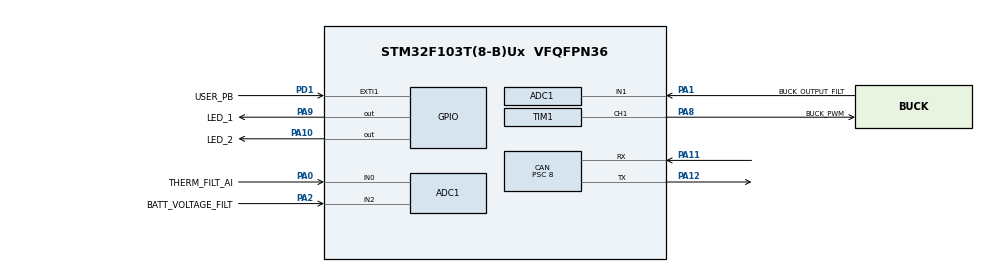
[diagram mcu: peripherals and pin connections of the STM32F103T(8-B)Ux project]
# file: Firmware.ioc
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ADC1.Channel-0\#ChannelRegularConversion=ADC_CHANNEL_0
ADC1.NbrOfConversion=1
ADC1.NbrOfConversionFlag=1
ADC1.Rank-0\#ChannelRegularConversion=1
ADC1.SamplingTime-0\#ChannelRegularConversion=ADC_SAMPLETIME_1CYCLE_5
ADC1.master=1
CAN.BS1=CAN_BS1_2TQ
CAN.CalculateBaudRate=250000
CAN.CalculateTimeBit=4000.00
CAN.CalculateTimeQuantum=1000.0
CAN.Prescaler=8
CAN.SJW=CAN_SJW_1TQ
Mcu.Family=STM32F1
Mcu.Name=STM32F103T(8-B)Ux
Mcu.Package=VFQFPN36
NVIC.CAN1_RX1_IRQn=true\:0\:0\:false\:false\:true\:true\:true
NVIC.PriorityGroup=NVIC_PRIORITYGROUP_4
NVIC.TIM2_IRQn=true\:0\:0\:false\:false\:true\:true\:true
PA0-WKUP.GPIO_Label=THERM_FILT_AI
PA0-WKUP.Signal=ADCx_IN0
PA1.GPIO_Label=BUCK_OUTPUT_FILT
PA1.Signal=ADCx_IN1
PA10.GPIO_Label=LED_2
PA10.Signal=GPIO_Output
PA11.Mode=CAN_Activate
PA11.Signal=CAN_RX
PA12.Mode=CAN_Activate
PA12.Signal=CAN_TX
PA13.Mode=Serial_Wire
PA13.Signal=SYS_JTMS-SWDIO
PA14.Mode=Serial_Wire
PA14.Signal=SYS_JTCK-SWCLK
PA2.GPIO_Label=BATT_VOLTAGE_FILT
PA2.Signal=ADCx_IN2
PA8.GPIO_Label=BUCK_PWM
PA8.Signal=S_TIM1_CH1
PA9.GPIO_Label=LED_1
PA9.Signal=GPIO_Output
PD1-OSC_OUT.GPIO_Label=USER_PB
PD1-OSC_OUT.GPIO_ModeDefaultEXTI=GPIO_MODE_IT_FALLING
PD1-OSC_OUT.GPIO_PuPd=GPIO_NOPULL
PD1-OSC_OUT.Signal=GPXTI1
ProjectManager.HeapSize=0x200
ProjectManager.StackSize=0x400
ProjectManager.TargetToolchain=SW4STM32
RCC.APB1Freq_Value=8000000
RCC.APB1TimFreq_Value=8000000
RCC.APB2Freq_Value=8000000
SH.ADCx_IN0.0=ADC1_IN0,IN0
SH.ADCx_IN1.0=ADC1_IN1,IN1
SH.ADCx_IN2.0=ADC1_IN2,IN2
SH.S_TIM1_CH1.0=TIM1_CH1,PWM Generation1 CH1
TIM1.AutomaticOutput=TIM_AUTOMATICOUTPUT_DISABLE
TIM1.Channel-PWM\ Generation1\ CH1=TIM_CHANNEL_1
TIM1.OCIdleState_1=TIM_OCIDLESTATE_SET
TIM1.Period=49
TIM1.Prescaler=7
TIM1.Pulse-PWM\ Generation1\ CH1=49
TIM2.Channel-Output\ Compare1\ No\ Output=TIM_CHANNEL_1
TIM2.Period=9999
TIM2.Prescaler=799
VP_TIM1_VS_ClockSourceINT.Mode=Internal
VP_TIM2_VS_no_output1.Mode=Output Compare1 No Output
board=custom

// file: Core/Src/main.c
/* USER CODE BEGIN Header */
/**
  ******************************************************************************
  * @file           : main.c
  * @brief          : Main program body
  ******************************************************************************
  * @attention
  *
  * <h2><center>&copy; Copyright (c) 2022 STMicroelectronics.
  * All rights reserved.</center></h2>
  *
  * This software component is licensed by ST under BSD 3-Clause license,
  * the "License"; You may not use this file except in compliance with the
  * License. You may obtain a copy of the License at:
  *                        opensource.org/licenses/BSD-3-Clause
  *
  ******************************************************************************
  */
/* USER CODE END Header */
#include "main.h"

/* USER CODE BEGIN Includes */
#include "PID.h"
/* USER CODE END Includes */

ADC_HandleTypeDef hadc1;

CAN_HandleTypeDef hcan;

TIM_HandleTypeDef htim1;
TIM_HandleTypeDef htim2;

void SystemClock_Config(void);
static void MX_GPIO_Init(void);
static void MX_ADC1_Init(void);
static void MX_CAN_Init(void);
static void MX_TIM1_Init(void);
static void MX_TIM2_Init(void);

/* USER CODE BEGIN 0 */
int duty = 0;
int direction = 1;

// CAN Vars
uint8_t datacheck = 0;
uint8_t RxData[8];

// ADC variables
uint16_t therm_val;
uint8_t therm_val_bytes[2];
float fThermTemp = 0.0f;
float thermSlope = -59.152358f;
float thermOffset = 146.160f;

uint16_t buck_voltage;
uint8_t buck_voltage_bytes[2];

uint16_t batt_voltage;
uint8_t batt_voltage_bytes[2];

ADC_ChannelConfTypeDef sConfig = {0};

// PID Parameters
/* Controller parameters */
float setpoint = 35.0f;

#define PID_KP  20.0f
#define PID_KI  1.0f
#define PID_KD  0.0f

#define PID_TAU 0.02f

#define PID_LIM_MIN  0.0f
#define PID_LIM_MAX  95.0f

#define PID_LIM_MIN_INT -5.0f
#define PID_LIM_MAX_INT  5.0f

#define SAMPLE_TIME_S 0.01f
float fNewDuty = 0.0f;
int newDuty = 0;

PIDController pid = {	PID_KP, PID_KI, PID_KD,
                       PID_TAU,
                       PID_LIM_MIN, PID_LIM_MAX,
						PID_LIM_MIN_INT, PID_LIM_MAX_INT,
                       SAMPLE_TIME_S };

/* USER CODE END 0 */

int main(void)
{

  /* MCU Configuration--------------------------------------------------------*/

  /* Reset of all peripherals, Initializes the Flash interface and the Systick. */
  HAL_Init();

  /* Configure the system clock */
  SystemClock_Config();

  /* Initialize all configured peripherals */
  MX_GPIO_Init();
  MX_ADC1_Init();
  MX_CAN_Init();
  MX_TIM1_Init();
  MX_TIM2_Init();
  /* USER CODE BEGIN 2 */
  HAL_TIM_PWM_Start(&htim1, TIM_CHANNEL_1);
  HAL_TIM_Base_Start_IT(&htim2);

  HAL_CAN_Start(&hcan);
  if(HAL_CAN_ActivateNotification(&hcan, CAN_IT_RX_FIFO0_MSG_PENDING) != HAL_OK)
  {
	  Error_Handler();
  }

  PIDController_Init(&pid);

  /* USER CODE END 2 */

  /* Infinite loop */
  /* USER CODE BEGIN WHILE */

  while (1)
  {
	//TIM1->CCR1 = 9999;

	// sendCANMessage();

	HAL_Delay(500);

	if(datacheck == 1)
	{
		HAL_GPIO_TogglePin(GPIOA, LED_2_Pin);
		HAL_Delay(300);
		datacheck = 0;
		setpoint = RxData[0];
	}

    /* USER CODE END WHILE */

  }
}

void SystemClock_Config(void)
{
  RCC_OscInitTypeDef RCC_OscInitStruct = {0};
  RCC_ClkInitTypeDef RCC_ClkInitStruct = {0};
  RCC_PeriphCLKInitTypeDef PeriphClkInit = {0};

  /** Initializes the RCC Oscillators according to the specified parameters
  * in the RCC_OscInitTypeDef structure.
  */
  RCC_OscInitStruct.OscillatorType = RCC_OSCILLATORTYPE_HSI;
  RCC_OscInitStruct.HSIState = RCC_HSI_ON;
  RCC_OscInitStruct.HSICalibrationValue = RCC_HSICALIBRATION_DEFAULT;
  RCC_OscInitStruct.PLL.PLLState = RCC_PLL_NONE;
  if (HAL_RCC_OscConfig(&RCC_OscInitStruct) != HAL_OK)
  {
    Error_Handler();
  }
  /** Initializes the CPU, AHB and APB buses clocks
  */
  RCC_ClkInitStruct.ClockType = RCC_CLOCKTYPE_HCLK|RCC_CLOCKTYPE_SYSCLK
                              |RCC_CLOCKTYPE_PCLK1|RCC_CLOCKTYPE_PCLK2;
  RCC_ClkInitStruct.SYSCLKSource = RCC_SYSCLKSOURCE_HSI;
  RCC_ClkInitStruct.AHBCLKDivider = RCC_SYSCLK_DIV1;
  RCC_ClkInitStruct.APB1CLKDivider = RCC_HCLK_DIV1;
  RCC_ClkInitStruct.APB2CLKDivider = RCC_HCLK_DIV1;

  if (HAL_RCC_ClockConfig(&RCC_ClkInitStruct, FLASH_LATENCY_0) != HAL_OK)
  {
    Error_Handler();
  }
  PeriphClkInit.PeriphClockSelection = RCC_PERIPHCLK_ADC;
  PeriphClkInit.AdcClockSelection = RCC_ADCPCLK2_DIV2;
  if (HAL_RCCEx_PeriphCLKConfig(&PeriphClkInit) != HAL_OK)
  {
    Error_Handler();
  }
}

static void MX_ADC1_Init(void)
{

  ADC_ChannelConfTypeDef sConfig = {0};

  /** Common config
  */
  hadc1.Instance = ADC1;
  hadc1.Init.ScanConvMode = ADC_SCAN_DISABLE;
  hadc1.Init.ContinuousConvMode = DISABLE;
  hadc1.Init.DiscontinuousConvMode = DISABLE;
  hadc1.Init.ExternalTrigConv = ADC_SOFTWARE_START;
  hadc1.Init.DataAlign = ADC_DATAALIGN_RIGHT;
  hadc1.Init.NbrOfConversion = 1;
  if (HAL_ADC_Init(&hadc1) != HAL_OK)
  {
    Error_Handler();
  }
  /** Configure Regular Channel
  */
  sConfig.Channel = ADC_CHANNEL_0;
  sConfig.Rank = ADC_REGULAR_RANK_1;
  sConfig.SamplingTime = ADC_SAMPLETIME_1CYCLE_5;
  if (HAL_ADC_ConfigChannel(&hadc1, &sConfig) != HAL_OK)
  {
    Error_Handler();
  }

}

static void MX_CAN_Init(void)
{

  hcan.Instance = CAN1;
  hcan.Init.Prescaler = 8;
  hcan.Init.Mode = CAN_MODE_NORMAL;
  hcan.Init.SyncJumpWidth = CAN_SJW_1TQ;
  hcan.Init.TimeSeg1 = CAN_BS1_2TQ;
  hcan.Init.TimeSeg2 = CAN_BS2_1TQ;
  hcan.Init.TimeTriggeredMode = DISABLE;
  hcan.Init.AutoBusOff = DISABLE;
  hcan.Init.AutoWakeUp = DISABLE;
  hcan.Init.AutoRetransmission = DISABLE;
  hcan.Init.ReceiveFifoLocked = DISABLE;
  hcan.Init.TransmitFifoPriority = DISABLE;
  if (HAL_CAN_Init(&hcan) != HAL_OK)
  {
    Error_Handler();
  }
  /* USER CODE BEGIN CAN_Init 2 */
  CAN_FilterTypeDef sf;
  sf.FilterMaskIdHigh = 0x0000;
  sf.FilterMaskIdLow = 0x0000;
  sf.FilterFIFOAssignment = CAN_FILTER_FIFO0;
  sf.FilterBank = 0;
  sf.FilterMode = CAN_FILTERMODE_IDMASK;
  sf.FilterScale = CAN_FILTERSCALE_32BIT;
  sf.FilterActivation = CAN_FILTER_ENABLE;
  if (HAL_CAN_ConfigFilter(&hcan, &sf) != HAL_OK)
  {
    Error_Handler();
  }

  if (HAL_CAN_Start(&hcan) != HAL_OK)
  {
    Error_Handler();
  }

  CAN_FilterTypeDef canfilterconfig;

  canfilterconfig.FilterActivation = CAN_FILTER_ENABLE;
  canfilterconfig.FilterBank = 10;  // which filter bank to use from the assigned ones
  canfilterconfig.FilterFIFOAssignment = CAN_FILTER_FIFO1;
  canfilterconfig.FilterIdHigh = 0x631<<5;
  canfilterconfig.FilterIdLow = 0;
  canfilterconfig.FilterMaskIdHigh = 0x631<<5;
  canfilterconfig.FilterMaskIdLow = 0x0000;
  canfilterconfig.FilterMode = CAN_FILTERMODE_IDMASK;
  canfilterconfig.FilterScale = CAN_FILTERSCALE_32BIT;
  canfilterconfig.SlaveStartFilterBank = 0;  // how many filters to assign to the CAN1 (master can)

  HAL_CAN_ConfigFilter(&hcan, &canfilterconfig);

  /* USER CODE END CAN_Init 2 */

}

static void MX_TIM1_Init(void)
{

  TIM_ClockConfigTypeDef sClockSourceConfig = {0};
  TIM_MasterConfigTypeDef sMasterConfig = {0};
  TIM_OC_InitTypeDef sConfigOC = {0};
  TIM_BreakDeadTimeConfigTypeDef sBreakDeadTimeConfig = {0};

  htim1.Instance = TIM1;
  htim1.Init.Prescaler = 7;
  htim1.Init.CounterMode = TIM_COUNTERMODE_UP;
  htim1.Init.Period = 49;
  htim1.Init.ClockDivision = TIM_CLOCKDIVISION_DIV1;
  htim1.Init.RepetitionCounter = 0;
  htim1.Init.AutoReloadPreload = TIM_AUTORELOAD_PRELOAD_DISABLE;
  if (HAL_TIM_Base_Init(&htim1) != HAL_OK)
  {
    Error_Handler();
  }
  sClockSourceConfig.ClockSource = TIM_CLOCKSOURCE_INTERNAL;
  if (HAL_TIM_ConfigClockSource(&htim1, &sClockSourceConfig) != HAL_OK)
  {
    Error_Handler();
  }
  if (HAL_TIM_PWM_Init(&htim1) != HAL_OK)
  {
    Error_Handler();
  }
  sMasterConfig.MasterOutputTrigger = TIM_TRGO_RESET;
  sMasterConfig.MasterSlaveMode = TIM_MASTERSLAVEMODE_DISABLE;
  if (HAL_TIMEx_MasterConfigSynchronization(&htim1, &sMasterConfig) != HAL_OK)
  {
    Error_Handler();
  }
  sConfigOC.OCMode = TIM_OCMODE_PWM1;
  sConfigOC.Pulse = 49;
  sConfigOC.OCPolarity = TIM_OCPOLARITY_HIGH;
  sConfigOC.OCNPolarity = TIM_OCNPOLARITY_HIGH;
  sConfigOC.OCFastMode = TIM_OCFAST_DISABLE;
  sConfigOC.OCIdleState = TIM_OCIDLESTATE_SET;
  sConfigOC.OCNIdleState = TIM_OCNIDLESTATE_RESET;
  if (HAL_TIM_PWM_ConfigChannel(&htim1, &sConfigOC, TIM_CHANNEL_1) != HAL_OK)
  {
    Error_Handler();
  }
  sBreakDeadTimeConfig.OffStateRunMode = TIM_OSSR_DISABLE;
  sBreakDeadTimeConfig.OffStateIDLEMode = TIM_OSSI_DISABLE;
  sBreakDeadTimeConfig.LockLevel = TIM_LOCKLEVEL_OFF;
  sBreakDeadTimeConfig.DeadTime = 0;
  sBreakDeadTimeConfig.BreakState = TIM_BREAK_DISABLE;
  sBreakDeadTimeConfig.BreakPolarity = TIM_BREAKPOLARITY_HIGH;
  sBreakDeadTimeConfig.AutomaticOutput = TIM_AUTOMATICOUTPUT_DISABLE;
  if (HAL_TIMEx_ConfigBreakDeadTime(&htim1, &sBreakDeadTimeConfig) != HAL_OK)
  {
    Error_Handler();
  }
  HAL_TIM_MspPostInit(&htim1);

}

static void MX_TIM2_Init(void)
{

  TIM_MasterConfigTypeDef sMasterConfig = {0};
  TIM_OC_InitTypeDef sConfigOC = {0};

  htim2.Instance = TIM2;
  htim2.Init.Prescaler = 799;
  htim2.Init.CounterMode = TIM_COUNTERMODE_UP;
  htim2.Init.Period = 9999;
  htim2.Init.ClockDivision = TIM_CLOCKDIVISION_DIV1;
  htim2.Init.AutoReloadPreload = TIM_AUTORELOAD_PRELOAD_DISABLE;
  if (HAL_TIM_OC_Init(&htim2) != HAL_OK)
  {
    Error_Handler();
  }
  sMasterConfig.MasterOutputTrigger = TIM_TRGO_RESET;
  sMasterConfig.MasterSlaveMode = TIM_MASTERSLAVEMODE_DISABLE;
  if (HAL_TIMEx_MasterConfigSynchronization(&htim2, &sMasterConfig) != HAL_OK)
  {
    Error_Handler();
  }
  sConfigOC.OCMode = TIM_OCMODE_TIMING;
  sConfigOC.Pulse = 0;
  sConfigOC.OCPolarity = TIM_OCPOLARITY_HIGH;
  sConfigOC.OCFastMode = TIM_OCFAST_DISABLE;
  if (HAL_TIM_OC_ConfigChannel(&htim2, &sConfigOC, TIM_CHANNEL_1) != HAL_OK)
  {
    Error_Handler();
  }

}

static void MX_GPIO_Init(void)
{
  GPIO_InitTypeDef GPIO_InitStruct = {0};

  /* GPIO Ports Clock Enable */
  __HAL_RCC_GPIOD_CLK_ENABLE();
  __HAL_RCC_GPIOA_CLK_ENABLE();

  /*Configure GPIO pin Output Level */
  HAL_GPIO_WritePin(GPIOA, LED_1_Pin|LED_2_Pin, GPIO_PIN_RESET);

  /*Configure GPIO pin : USER_PB_Pin */
  GPIO_InitStruct.Pin = USER_PB_Pin;
  GPIO_InitStruct.Mode = GPIO_MODE_IT_FALLING;
  GPIO_InitStruct.Pull = GPIO_NOPULL;
  HAL_GPIO_Init(USER_PB_GPIO_Port, &GPIO_InitStruct);

  /*Configure GPIO pins : LED_1_Pin LED_2_Pin */
  GPIO_InitStruct.Pin = LED_1_Pin|LED_2_Pin;
  GPIO_InitStruct.Mode = GPIO_MODE_OUTPUT_PP;
  GPIO_InitStruct.Pull = GPIO_NOPULL;
  GPIO_InitStruct.Speed = GPIO_SPEED_FREQ_LOW;
  HAL_GPIO_Init(GPIOA, &GPIO_InitStruct);

  /*Configure peripheral I/O remapping */
  __HAL_AFIO_REMAP_PD01_ENABLE();

}

/* USER CODE BEGIN 4 */

// Callback: timer has rolled over
void HAL_TIM_PeriodElapsedCallback(TIM_HandleTypeDef *htim)
{
  // Check which version of the timer triggered this callback and toggle LED
  if (htim == &htim2)
  {
    HAL_GPIO_TogglePin(GPIOA, LED_2_Pin);
	getADCData();
	fNewDuty = PIDController_Update(&pid, setpoint, fThermTemp);
	newDuty = (int)fNewDuty;
	//TIM1->CCR1 = ((PID_LIM_MAX - newDuty)/2);
  }
}

void sendCANMessage()
{

	// Thermistor reading
	uint32_t mb;
	CAN_TxHeaderTypeDef msg;
	msg.StdId = 120;
	msg.IDE = CAN_ID_STD;
	msg.RTR = CAN_RTR_DATA;
	msg.DLC = 2;
	msg.TransmitGlobalTime = DISABLE;

	if (HAL_CAN_AddTxMessage(&hcan, &msg, therm_val_bytes, &mb) != HAL_OK)
	{
		Error_Handler();
	}

	//HAL_Delay(1);

	/* Buck Voltage
	//uint32_t mb1;
	CAN_TxHeaderTypeDef msg1;
	msg.StdId = 126;
	msg.IDE = CAN_ID_STD;
	msg.RTR = CAN_RTR_DATA;
	msg.DLC = 2;
	msg.TransmitGlobalTime = DISABLE;

	if (HAL_CAN_AddTxMessage(&hcan, &msg1, buck_voltage_bytes, &mb) != HAL_OK)
	{
		Error_Handler();
	}

	HAL_Delay(1);
	// Batt voltage
	//uint32_t mb2;
	CAN_TxHeaderTypeDef msg2;
	msg.StdId = 127;
	msg.IDE = CAN_ID_STD;
	msg.RTR = CAN_RTR_DATA;
	msg.DLC = 2;
	msg.TransmitGlobalTime = DISABLE;

	if (HAL_CAN_AddTxMessage(&hcan, &msg2, batt_voltage_bytes, &mb) != HAL_OK)
	{
		Error_Handler();
	}
	*/
}

// CAN read function
CAN_RxHeaderTypeDef   RxHeader;

void HAL_CAN_RxFifo0MsgPendingCallback(CAN_HandleTypeDef *hcan)
{

  if (HAL_CAN_GetRxMessage(hcan, CAN_RX_FIFO0, &RxHeader, RxData) != HAL_OK)
  {
    Error_Handler();
  }

  if ((RxHeader.DLC == 1))
  {
	  datacheck = 1;

  }
}

void getADCData()
{
	sConfig.Channel = ADC_CHANNEL_0;
	HAL_ADC_ConfigChannel(&hadc1, &sConfig);
    HAL_ADC_Start(&hadc1);
    HAL_ADC_PollForConversion(&hadc1, HAL_MAX_DELAY);
    therm_val = HAL_ADC_GetValue(&hadc1);
	therm_val_bytes[0] = (uint8_t)(therm_val >> 8);
	therm_val_bytes[1] = (uint8_t)therm_val;
	fThermTemp = (float)therm_val*3.3/4095.0;
	fThermTemp = fThermTemp * thermSlope + thermOffset;
}

void sweepBuckDuty()
{
	if(direction == 1)
		{
			if(duty <= 15988)
			{
				duty+=2000;
				TIM1->CCR1 = duty;
			}
			if(duty >= 100)
			{
				direction = 0;
			}
		}

		if(direction == 0)
		{
			if(duty >= 0)
			{
				duty-=2000;
				TIM1->CCR1 = duty;
			}
			if(duty <= 0)
			{
				direction = 1;
			}
		}
}
/* USER CODE END 4 */

void Error_Handler(void)
{
  __disable_irq();
  while (1)
  {
  }
}

/************************ (C) COPYRIGHT STMicroelectronics *****END OF FILE****/
